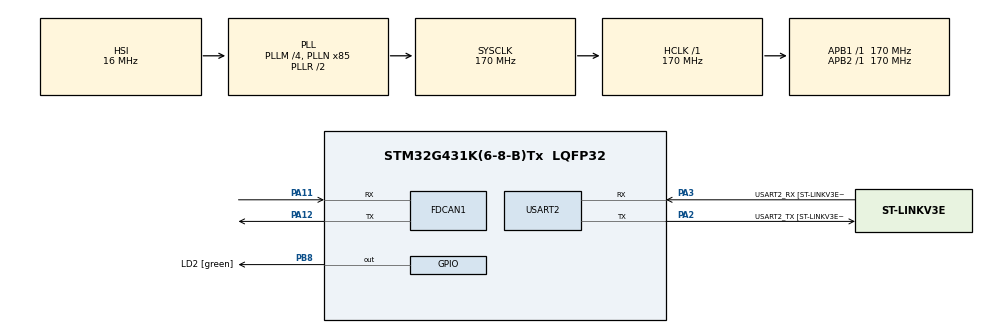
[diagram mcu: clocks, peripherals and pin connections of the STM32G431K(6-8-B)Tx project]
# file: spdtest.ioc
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FDCAN1.CalculateBaudRateNominal=500000
FDCAN1.CalculateTimeBitNominal=2000
FDCAN1.CalculateTimeQuantumNominal=400.0
FDCAN1.NominalPrescaler=68
Mcu.Family=STM32G4
Mcu.Name=STM32G431K(6-8-B)Tx
Mcu.Package=LQFP32
NVIC.PriorityGroup=NVIC_PRIORITYGROUP_4
PA11.Mode=FDCAN_Activate
PA11.Signal=FDCAN1_RX
PA12.Mode=FDCAN_Activate
PA12.Signal=FDCAN1_TX
PA13.GPIO_Label=T_SWDIO
PA13.Mode=Serial_Wire
PA13.Signal=SYS_JTMS-SWDIO
PA14.GPIO_Label=T_SWCLK
PA14.Mode=Serial_Wire
PA14.Signal=SYS_JTCK-SWCLK
PA2.GPIO_Label=USART2_TX [ST-LINKV3E_VCP_RX]
PA2.Mode=Asynchronous
PA2.Signal=USART2_TX
PA3.GPIO_Label=USART2_RX [ST-LINKV3E_VCP_TX]
PA3.Mode=Asynchronous
PA3.Signal=USART2_RX
PB3.GPIO_Label=T_SWO
PB3.Signal=SYS_JTDO-SWO
PB8-BOOT0.GPIO_Label=LD2 [green]
PB8-BOOT0.Signal=GPIO_Output
ProjectManager.HeapSize=0x200
ProjectManager.StackSize=0x400
ProjectManager.TargetToolchain=STM32CubeIDE
RCC.ADC12Freq_Value=170000000
RCC.AHBFreq_Value=170000000
RCC.APB1Freq_Value=170000000
RCC.APB1TimFreq_Value=170000000
RCC.APB2Freq_Value=170000000
RCC.APB2TimFreq_Value=170000000
RCC.CortexFreq_Value=170000000
RCC.EXTERNAL_CLOCK_VALUE=12288000
RCC.HCLKFreq_Value=170000000
RCC.HSE_VALUE=8000000
RCC.HSI48_VALUE=48000000
RCC.HSI_VALUE=16000000
RCC.LSE_VALUE=32768
RCC.PLLM=RCC_PLLM_DIV4
RCC.PLLN=85
RCC.SYSCLKFreq_VALUE=170000000
RCC.SYSCLKSource=RCC_SYSCLKSOURCE_PLLCLK
RCC.USBFreq_Value=170000000
RCC.VCOOutputFreq_Value=340000000
USART2.VirtualMode-Asynchronous=VM_ASYNC
USART2.WordLength=WORDLENGTH_8B
VP_SYS_VS_DBSignals.Mode=DisableDeadBatterySignals
board=NUCLEO-G431KB

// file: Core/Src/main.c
/* USER CODE BEGIN Header */
/**
  ******************************************************************************
  * @file           : main.c
  * @brief          : Main program body
  ******************************************************************************
  * @attention
  *
  * Copyright (c) 2024 STMicroelectronics.
  * All rights reserved.
  *
  * This software is licensed under terms that can be found in the LICENSE file
  * in the root directory of this software component.
  * If no LICENSE file comes with this software, it is provided AS-IS.
  *
  ******************************************************************************
  */
/* USER CODE END Header */
#include "main.h"

/* USER CODE BEGIN Includes */
#include <stdio.h>

/* USER CODE END Includes */

FDCAN_HandleTypeDef hfdcan1;

UART_HandleTypeDef huart2;

void SystemClock_Config(void);
static void MX_GPIO_Init(void);
static void MX_USART2_UART_Init(void);
static void MX_FDCAN1_Init(void);

/* USER CODE BEGIN 0 */
int _write(int file, char *ptr, int len) {
    HAL_UART_Transmit(&huart2, (uint8_t*)ptr, len, HAL_MAX_DELAY);
    return len;
}
/* USER CODE END 0 */

int main(void)
{

  /* MCU Configuration--------------------------------------------------------*/

  /* Reset of all peripherals, Initializes the Flash interface and the Systick. */
  HAL_Init();

  /* Configure the system clock */
  SystemClock_Config();

  /* Initialize all configured peripherals */
  MX_GPIO_Init();
  MX_USART2_UART_Init();
  MX_FDCAN1_Init();
  /* USER CODE BEGIN 2 */

  printf("System initialized successfully.\r\n");

  // CAN 송신 메시지 설정
  FDCAN_TxHeaderTypeDef TxHeader;
  uint8_t TxData[8];
  uint32_t TxMailbox;

  TxHeader.Identifier = 0x200;
  TxHeader.IdType = FDCAN_STANDARD_ID;
  TxHeader.TxFrameType = FDCAN_DATA_FRAME;
  TxHeader.DataLength = FDCAN_DLC_BYTES_8;
  TxHeader.ErrorStateIndicator = FDCAN_ESI_ACTIVE;
  TxHeader.BitRateSwitch = FDCAN_BRS_OFF;
  TxHeader.FDFormat = FDCAN_CLASSIC_CAN;
  TxHeader.TxEventFifoControl = FDCAN_NO_TX_EVENTS;
  TxHeader.MessageMarker = 0;

  if (HAL_FDCAN_Start(&hfdcan1) != HAL_OK) {
      printf("Error: FDCAN initialization failed.\r\n");
      Error_Handler();
  } else {
      printf("FDCAN started successfully.\r\n");
  }

  /* USER CODE END 2 */

  /* Infinite loop */
  while (1)
  {
      // 임의의 데이터 생성 및 전송
      for (int i = 0; i < 8; i++) {
          TxData[i] = i;
      }

      if (HAL_FDCAN_AddMessageToTxFifoQ(&hfdcan1, &TxHeader, TxData) == HAL_OK) {
          printf("CAN message transmitted: ");
          for (int i = 0; i < 8; i++) {
              printf("%02X ", TxData[i]);
          }
          printf("\r\n");
      } else {
          printf("Error: CAN transmission failed.\r\n");
      }

      HAL_Delay(200);  // 200ms 대기

  }
}

void SystemClock_Config(void)
{
  RCC_OscInitTypeDef RCC_OscInitStruct = {0};
  RCC_ClkInitTypeDef RCC_ClkInitStruct = {0};

  /** Configure the main internal regulator output voltage
  */
  HAL_PWREx_ControlVoltageScaling(PWR_REGULATOR_VOLTAGE_SCALE1_BOOST);

  /** Initializes the RCC Oscillators according to the specified parameters
  * in the RCC_OscInitTypeDef structure.
  */
  RCC_OscInitStruct.OscillatorType = RCC_OSCILLATORTYPE_HSI;
  RCC_OscInitStruct.HSIState = RCC_HSI_ON;
  RCC_OscInitStruct.HSICalibrationValue = RCC_HSICALIBRATION_DEFAULT;
  RCC_OscInitStruct.PLL.PLLState = RCC_PLL_ON;
  RCC_OscInitStruct.PLL.PLLSource = RCC_PLLSOURCE_HSI;
  RCC_OscInitStruct.PLL.PLLM = RCC_PLLM_DIV4;
  RCC_OscInitStruct.PLL.PLLN = 85;
  RCC_OscInitStruct.PLL.PLLP = RCC_PLLP_DIV2;
  RCC_OscInitStruct.PLL.PLLQ = RCC_PLLQ_DIV2;
  RCC_OscInitStruct.PLL.PLLR = RCC_PLLR_DIV2;
  if (HAL_RCC_OscConfig(&RCC_OscInitStruct) != HAL_OK)
  {
    Error_Handler();
  }

  /** Initializes the CPU, AHB and APB buses clocks
  */
  RCC_ClkInitStruct.ClockType = RCC_CLOCKTYPE_HCLK|RCC_CLOCKTYPE_SYSCLK
                              |RCC_CLOCKTYPE_PCLK1|RCC_CLOCKTYPE_PCLK2;
  RCC_ClkInitStruct.SYSCLKSource = RCC_SYSCLKSOURCE_PLLCLK;
  RCC_ClkInitStruct.AHBCLKDivider = RCC_SYSCLK_DIV1;
  RCC_ClkInitStruct.APB1CLKDivider = RCC_HCLK_DIV1;
  RCC_ClkInitStruct.APB2CLKDivider = RCC_HCLK_DIV1;

  if (HAL_RCC_ClockConfig(&RCC_ClkInitStruct, FLASH_LATENCY_4) != HAL_OK)
  {
    Error_Handler();
  }
}

static void MX_FDCAN1_Init(void)
{

  hfdcan1.Instance = FDCAN1;
  hfdcan1.Init.ClockDivider = FDCAN_CLOCK_DIV1;
  hfdcan1.Init.FrameFormat = FDCAN_FRAME_CLASSIC;
  hfdcan1.Init.Mode = FDCAN_MODE_NORMAL;
  hfdcan1.Init.AutoRetransmission = DISABLE;
  hfdcan1.Init.TransmitPause = DISABLE;
  hfdcan1.Init.ProtocolException = DISABLE;
  hfdcan1.Init.NominalPrescaler = 68;
  hfdcan1.Init.NominalSyncJumpWidth = 1;
  hfdcan1.Init.NominalTimeSeg1 = 2;
  hfdcan1.Init.NominalTimeSeg2 = 2;
  hfdcan1.Init.DataPrescaler = 1;
  hfdcan1.Init.DataSyncJumpWidth = 1;
  hfdcan1.Init.DataTimeSeg1 = 1;
  hfdcan1.Init.DataTimeSeg2 = 1;
  hfdcan1.Init.StdFiltersNbr = 0;
  hfdcan1.Init.ExtFiltersNbr = 0;
  hfdcan1.Init.TxFifoQueueMode = FDCAN_TX_FIFO_OPERATION;
  if (HAL_FDCAN_Init(&hfdcan1) != HAL_OK)
  {
    Error_Handler();
  }

}

static void MX_USART2_UART_Init(void)
{

  huart2.Instance = USART2;
  huart2.Init.BaudRate = 115200;
  huart2.Init.WordLength = UART_WORDLENGTH_8B;
  huart2.Init.StopBits = UART_STOPBITS_1;
  huart2.Init.Parity = UART_PARITY_NONE;
  huart2.Init.Mode = UART_MODE_TX_RX;
  huart2.Init.HwFlowCtl = UART_HWCONTROL_NONE;
  huart2.Init.OverSampling = UART_OVERSAMPLING_16;
  huart2.Init.OneBitSampling = UART_ONE_BIT_SAMPLE_DISABLE;
  huart2.Init.ClockPrescaler = UART_PRESCALER_DIV1;
  huart2.AdvancedInit.AdvFeatureInit = UART_ADVFEATURE_NO_INIT;
  if (HAL_UART_Init(&huart2) != HAL_OK)
  {
    Error_Handler();
  }
  if (HAL_UARTEx_SetTxFifoThreshold(&huart2, UART_TXFIFO_THRESHOLD_1_8) != HAL_OK)
  {
    Error_Handler();
  }
  if (HAL_UARTEx_SetRxFifoThreshold(&huart2, UART_RXFIFO_THRESHOLD_1_8) != HAL_OK)
  {
    Error_Handler();
  }
  if (HAL_UARTEx_DisableFifoMode(&huart2) != HAL_OK)
  {
    Error_Handler();
  }

}

static void MX_GPIO_Init(void)
{
  GPIO_InitTypeDef GPIO_InitStruct = {0};

  /* GPIO Ports Clock Enable */
  __HAL_RCC_GPIOA_CLK_ENABLE();
  __HAL_RCC_GPIOB_CLK_ENABLE();

  /*Configure GPIO pin Output Level */
  HAL_GPIO_WritePin(LD2_GPIO_Port, LD2_Pin, GPIO_PIN_RESET);

  /*Configure GPIO pin : LD2_Pin */
  GPIO_InitStruct.Pin = LD2_Pin;
  GPIO_InitStruct.Mode = GPIO_MODE_OUTPUT_PP;
  GPIO_InitStruct.Pull = GPIO_NOPULL;
  GPIO_InitStruct.Speed = GPIO_SPEED_FREQ_LOW;
  HAL_GPIO_Init(LD2_GPIO_Port, &GPIO_InitStruct);

}

void Error_Handler(void)
{
  __disable_irq();
  while (1)
  {
  }
}
